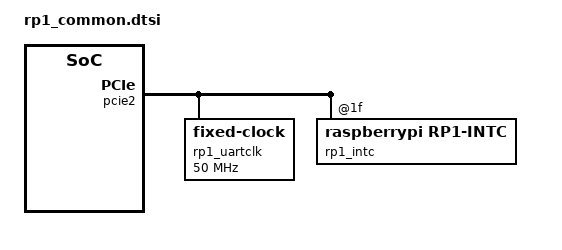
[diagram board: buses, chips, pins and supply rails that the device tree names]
/*
 * Copyright The Zephyr Project Contributors
 *
 * SPDX-License-Identifier: Apache-2.0
 */

#include <zephyr/dt-bindings/interrupt-controller/arm-gic.h>
#include <zephyr/dt-bindings/interrupt-controller/rp1-irq.h>

&pcie2 {
	rp1 {
		#address-cells = <2>;
		#size-cells = <1>;

		rp1_uartclk: uartclk {
			compatible = "fixed-clock";
			clock-frequency = <50000000>;
			#clock-cells = <0>;
		};

		rp1_uart0: serial@1f00030000 {
			compatible = "arm,pl011";
			reg = <0x1f 0x30000 0x100>;
			interrupt-parent = <&rp1_intc>;
			interrupts = <RP1_IRQ_UART0 IRQ_TYPE_LEVEL>;
			interrupt-names = "uart0";
			clocks = <&rp1_uartclk>;
			clock-names = "uartclk";
			status = "disabled";
		};

		rp1_uart1: serial@1f00034000 {
			compatible = "arm,pl011";
			reg = <0x1f 0x34000 0x100>;
			interrupt-parent = <&rp1_intc>;
			interrupts = <RP1_IRQ_UART1 IRQ_TYPE_LEVEL>;
			interrupt-names = "uart1";
			clocks = <&rp1_uartclk>;
			clock-names = "uartclk";
			status = "disabled";
		};

		rp1_uart2: serial@1f00038000 {
			compatible = "arm,pl011";
			reg = <0x1f 0x38000 0x100>;
			interrupt-parent = <&rp1_intc>;
			interrupts = <RP1_IRQ_UART2 IRQ_TYPE_LEVEL>;
			interrupt-names = "uart2";
			clocks = <&rp1_uartclk>;
			clock-names = "uartclk";
			status = "disabled";
		};

		rp1_uart3: serial@1f0003c000 {
			compatible = "arm,pl011";
			reg = <0x1f 0x3c000 0x100>;
			interrupt-parent = <&rp1_intc>;
			interrupts = <RP1_IRQ_UART3 IRQ_TYPE_LEVEL>;
			interrupt-names = "uart3";
			clocks = <&rp1_uartclk>;
			clock-names = "uartclk";
			status = "disabled";
		};

		rp1_uart4: serial@1f00040000 {
			compatible = "arm,pl011";
			reg = <0x1f 0x40000 0x100>;
			interrupt-parent = <&rp1_intc>;
			interrupts = <RP1_IRQ_UART4 IRQ_TYPE_LEVEL>;
			interrupt-names = "uart4";
			clocks = <&rp1_uartclk>;
			clock-names = "uartclk";
			status = "disabled";
		};

		rp1_pinctrl: pinctrl@1f000d0000 {
			compatible = "raspberrypi,rp1-pinctrl";
			reg = <0x1f 0xd0000 0x128>,
			      <0x1f 0xf0004 0x70>;
			reg-names = "gpio", "pads";
			#address-cells = <1>;
			#size-cells = <0>;
			status = "okay";

			gpio0_0: gpio@0 {
				compatible = "raspberrypi,rp1-gpio";
				reg = <0x0 0x10000 0x20000>;
				#gpio-cells = <2>;
				gpio-controller;
				ngpios = <28>;
				status = "disabled";
			};

			gpio0_1: gpio@4000 {
				compatible = "raspberrypi,rp1-gpio";
				reg = <0x4000 0x14000 0x24000>;
				#gpio-cells = <2>;
				gpio-controller;
				ngpios = <6>;
				status = "disabled";
			};

			gpio0_2: gpio@8000 {
				compatible = "raspberrypi,rp1-gpio";
				reg = <0x8000 0x18000 0x28000>;
				#gpio-cells = <2>;
				gpio-controller;
				ngpios = <20>;
				status = "disabled";
			};
		};

		rp1_intc: interrupt-controller@1f00108000 {
			compatible = "raspberrypi,rp1-intc";
			reg = <0x1f 0x108000 0x1000>;
			interrupt-controller;
			#interrupt-cells = <2>;
			#address-cells = <0>;
			msi-parent = <&mip0>;
			interrupt-map = <RP1_IRQ_IO_BANK0 IRQ_TYPE_LEVEL
					 &mip0 RP1_IRQ_IO_BANK0 IRQ_TYPE_EDGE>,
					<RP1_IRQ_IO_BANK1 IRQ_TYPE_LEVEL
					 &mip0 RP1_IRQ_IO_BANK1 IRQ_TYPE_EDGE>,
					<RP1_IRQ_IO_BANK2 IRQ_TYPE_LEVEL
					 &mip0 RP1_IRQ_IO_BANK2 IRQ_TYPE_EDGE>,
					<RP1_IRQ_AUDIO_IN IRQ_TYPE_LEVEL
					 &mip0 RP1_IRQ_AUDIO_IN IRQ_TYPE_EDGE>,
					<RP1_IRQ_AUDIO_OUT IRQ_TYPE_LEVEL
					 &mip0 RP1_IRQ_AUDIO_OUT IRQ_TYPE_EDGE>,
					<RP1_IRQ_PWM0 IRQ_TYPE_LEVEL
					 &mip0 RP1_IRQ_PWM0 IRQ_TYPE_EDGE>,
					<RP1_IRQ_ETH IRQ_TYPE_LEVEL
					 &mip0 RP1_IRQ_ETH IRQ_TYPE_EDGE>,
					<RP1_IRQ_I2C0 IRQ_TYPE_LEVEL
					 &mip0 RP1_IRQ_I2C0 IRQ_TYPE_EDGE>,
					<RP1_IRQ_I2C1 IRQ_TYPE_LEVEL
					 &mip0 RP1_IRQ_I2C1 IRQ_TYPE_EDGE>,
					<RP1_IRQ_I2C2 IRQ_TYPE_LEVEL
					 &mip0 RP1_IRQ_I2C2 IRQ_TYPE_EDGE>,
					<RP1_IRQ_I2C3 IRQ_TYPE_LEVEL
					 &mip0 RP1_IRQ_I2C3 IRQ_TYPE_EDGE>,
					<RP1_IRQ_I2C4 IRQ_TYPE_LEVEL
					 &mip0 RP1_IRQ_I2C4 IRQ_TYPE_EDGE>,
					<RP1_IRQ_I2C5 IRQ_TYPE_LEVEL
					 &mip0 RP1_IRQ_I2C5 IRQ_TYPE_EDGE>,
					<RP1_IRQ_I2C6 IRQ_TYPE_LEVEL
					 &mip0 RP1_IRQ_I2C6 IRQ_TYPE_EDGE>,
					<RP1_IRQ_I2S0 IRQ_TYPE_LEVEL
					 &mip0 RP1_IRQ_I2S0 IRQ_TYPE_EDGE>,
					<RP1_IRQ_I2S1 IRQ_TYPE_LEVEL
					 &mip0 RP1_IRQ_I2S1 IRQ_TYPE_EDGE>,
					<RP1_IRQ_I2S2 IRQ_TYPE_LEVEL
					 &mip0 RP1_IRQ_I2S2 IRQ_TYPE_EDGE>,
					<RP1_IRQ_SDIO0 IRQ_TYPE_LEVEL
					 &mip0 RP1_IRQ_SDIO0 IRQ_TYPE_EDGE>,
					<RP1_IRQ_SDIO1 IRQ_TYPE_LEVEL
					 &mip0 RP1_IRQ_SDIO1 IRQ_TYPE_EDGE>,
					<RP1_IRQ_SPI0 IRQ_TYPE_LEVEL
					 &mip0 RP1_IRQ_SPI0 IRQ_TYPE_EDGE>,
					<RP1_IRQ_SPI1 IRQ_TYPE_LEVEL
					 &mip0 RP1_IRQ_SPI1 IRQ_TYPE_EDGE>,
					<RP1_IRQ_SPI2 IRQ_TYPE_LEVEL
					 &mip0 RP1_IRQ_SPI2 IRQ_TYPE_EDGE>,
					<RP1_IRQ_SPI3 IRQ_TYPE_LEVEL
					 &mip0 RP1_IRQ_SPI3 IRQ_TYPE_EDGE>,
					<RP1_IRQ_SPI4 IRQ_TYPE_LEVEL
					 &mip0 RP1_IRQ_SPI4 IRQ_TYPE_EDGE>,
					<RP1_IRQ_SPI5 IRQ_TYPE_LEVEL
					 &mip0 RP1_IRQ_SPI5 IRQ_TYPE_EDGE>,
					<RP1_IRQ_UART0 IRQ_TYPE_LEVEL
					 &mip0 RP1_IRQ_UART0 IRQ_TYPE_EDGE>,
					<RP1_IRQ_TIMER0 IRQ_TYPE_LEVEL
					 &mip0 RP1_IRQ_TIMER0 IRQ_TYPE_EDGE>,
					<RP1_IRQ_TIMER1 IRQ_TYPE_LEVEL
					 &mip0 RP1_IRQ_TIMER1 IRQ_TYPE_EDGE>,
					<RP1_IRQ_TIMER2 IRQ_TYPE_LEVEL
					 &mip0 RP1_IRQ_TIMER2 IRQ_TYPE_EDGE>,
					<RP1_IRQ_TIMER3 IRQ_TYPE_LEVEL
					 &mip0 RP1_IRQ_TIMER3 IRQ_TYPE_EDGE>,
					<RP1_IRQ_USBHOST0 IRQ_TYPE_LEVEL
					 &mip0 RP1_IRQ_USBHOST0 IRQ_TYPE_EDGE>,
					<RP1_IRQ_USBHOST0_0 IRQ_TYPE_LEVEL
					 &mip0 RP1_IRQ_USBHOST0_0 IRQ_TYPE_EDGE>,
					<RP1_IRQ_USBHOST0_1 IRQ_TYPE_LEVEL
					 &mip0 RP1_IRQ_USBHOST0_1 IRQ_TYPE_EDGE>,
					<RP1_IRQ_USBHOST0_2 IRQ_TYPE_LEVEL
					 &mip0 RP1_IRQ_USBHOST0_2 IRQ_TYPE_EDGE>,
					<RP1_IRQ_USBHOST0_3 IRQ_TYPE_LEVEL
					 &mip0 RP1_IRQ_USBHOST0_3 IRQ_TYPE_EDGE>,
					<RP1_IRQ_USBHOST1 IRQ_TYPE_LEVEL
					 &mip0 RP1_IRQ_USBHOST1 IRQ_TYPE_EDGE>,
					<RP1_IRQ_USBHOST1_0 IRQ_TYPE_LEVEL
					 &mip0 RP1_IRQ_USBHOST1_0 IRQ_TYPE_EDGE>,
					<RP1_IRQ_USBHOST1_1 IRQ_TYPE_LEVEL
					 &mip0 RP1_IRQ_USBHOST1_1 IRQ_TYPE_EDGE>,
					<RP1_IRQ_USBHOST1_2 IRQ_TYPE_LEVEL
					 &mip0 RP1_IRQ_USBHOST1_2 IRQ_TYPE_EDGE>,
					<RP1_IRQ_USBHOST1_3 IRQ_TYPE_LEVEL
					 &mip0 RP1_IRQ_USBHOST1_3 IRQ_TYPE_EDGE>,
					<RP1_IRQ_DMA IRQ_TYPE_LEVEL
					 &mip0 RP1_IRQ_DMA IRQ_TYPE_EDGE>,
					<RP1_IRQ_PWM1 IRQ_TYPE_LEVEL
					 &mip0 RP1_IRQ_PWM1 IRQ_TYPE_EDGE>,
					<RP1_IRQ_UART1 IRQ_TYPE_LEVEL
					 &mip0 RP1_IRQ_UART1 IRQ_TYPE_EDGE>,
					<RP1_IRQ_UART2 IRQ_TYPE_LEVEL
					 &mip0 RP1_IRQ_UART2 IRQ_TYPE_EDGE>,
					<RP1_IRQ_UART3 IRQ_TYPE_LEVEL
					 &mip0 RP1_IRQ_UART3 IRQ_TYPE_EDGE>,
					<RP1_IRQ_UART4 IRQ_TYPE_LEVEL
					 &mip0 RP1_IRQ_UART4 IRQ_TYPE_EDGE>,
					<RP1_IRQ_UART5 IRQ_TYPE_LEVEL
					 &mip0 RP1_IRQ_UART5 IRQ_TYPE_EDGE>,
					<RP1_IRQ_MIPI0 IRQ_TYPE_LEVEL
					 &mip0 RP1_IRQ_MIPI0 IRQ_TYPE_EDGE>,
					<RP1_IRQ_MIPI1 IRQ_TYPE_LEVEL
					 &mip0 RP1_IRQ_MIPI1 IRQ_TYPE_EDGE>,
					<RP1_IRQ_VIDEO_OUT IRQ_TYPE_LEVEL
					 &mip0 RP1_IRQ_VIDEO_OUT IRQ_TYPE_EDGE>,
					<RP1_IRQ_PIO0 IRQ_TYPE_LEVEL
					 &mip0 RP1_IRQ_PIO0 IRQ_TYPE_EDGE>,
					<RP1_IRQ_PIO1 IRQ_TYPE_LEVEL
					 &mip0 RP1_IRQ_PIO1 IRQ_TYPE_EDGE>,
					<RP1_IRQ_ADC_FIFO IRQ_TYPE_LEVEL
					 &mip0 RP1_IRQ_ADC_FIFO IRQ_TYPE_EDGE>,
					<RP1_IRQ_PCIE_OUT IRQ_TYPE_LEVEL
					 &mip0 RP1_IRQ_PCIE_OUT IRQ_TYPE_EDGE>,
					<RP1_IRQ_SPI6 IRQ_TYPE_LEVEL
					 &mip0 RP1_IRQ_SPI6 IRQ_TYPE_EDGE>,
					<RP1_IRQ_SPI7 IRQ_TYPE_LEVEL
					 &mip0 RP1_IRQ_SPI7 IRQ_TYPE_EDGE>,
					<RP1_IRQ_SPI8 IRQ_TYPE_LEVEL
					 &mip0 RP1_IRQ_SPI8 IRQ_TYPE_EDGE>,
					<RP1_IRQ_PROC_MISC IRQ_TYPE_LEVEL
					 &mip0 RP1_IRQ_PROC_MISC IRQ_TYPE_EDGE>,
					<RP1_IRQ_SYSCFG IRQ_TYPE_LEVEL
					 &mip0 RP1_IRQ_SYSCFG IRQ_TYPE_EDGE>,
					<RP1_IRQ_CLOCKS IRQ_TYPE_LEVEL
					 &mip0 RP1_IRQ_CLOCKS IRQ_TYPE_EDGE>,
					<RP1_IRQ_VBUSCTRL IRQ_TYPE_LEVEL
					 &mip0 RP1_IRQ_VBUSCTRL IRQ_TYPE_EDGE>;
		};
	};
};
